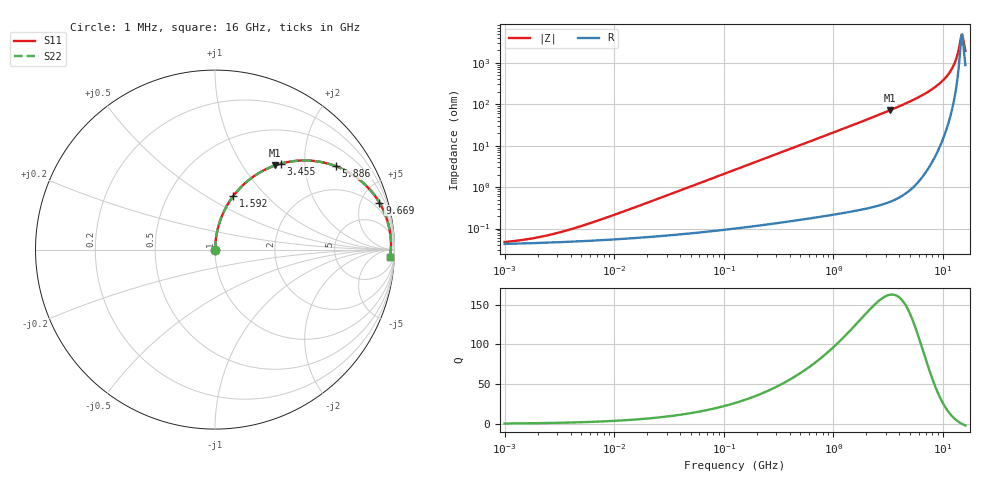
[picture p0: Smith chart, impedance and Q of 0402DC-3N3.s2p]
# MHz  S  MA  R  50
!Freq  MagS11  AngS11  MagS21  AngS21  MagS12  AngS12  MagS22  AngS22
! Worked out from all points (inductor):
!   801 points, 1 MHz to 16 GHz, reference 50 ohm
!   read as one part in series: L = 3.3 nH near 7.644 MHz
!   highest Q = 162 at 3.252 GHz (marker M1), where L = 3.47 nH
!   self-resonance near 14.77 GHz
!   S11 on the Smith chart (normalised r, x): 1 MHz: 1.00, +0.00; 1.592 GHz: 1.01, +0.67; 3.455 GHz: 1.01, +1.51; 5.886 GHz: 1.03, +2.89; 9.669 GHz: 1.23, +6.93; 16 GHz: 19, -35
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1  0.0004736 25.9  0.9996 -0.0  0.9996 -0.0  0.0004736 25.9
2.196615  0.0006421 45.1  0.9995 -0.0  0.9995 -0.0  0.0006421 45.1
5.064525  0.001161 64.7  0.9995 -0.1  0.9995 -0.1  0.001161 64.7
25.34076  0.005291 82.6  0.9993 -0.3  0.9993 -0.3  0.005291 82.6
126.7946  0.02628 86.3  0.9987 -1.5  0.9987 -1.5  0.02628 86.3
642.1543  0.132 81.6  0.9895 -7.6  0.9895 -7.6  0.132 81.6
1592.102  0.316 71.1  0.9462 -18.4  0.9462 -18.4  0.316 71.1
2289.303  0.4361 63.8  0.897 -25.9  0.897 -25.9  0.4361 63.8
3213.071  0.5712 54.8  0.8173 -34.8  0.8173 -34.8  0.5712 54.8
3252.207  0.5763 54.5  0.8137 -35.2  0.8137 -35.2  0.5763 54.5
3455.15  0.6019 52.6  0.7949 -37.0  0.7949 -37.0  0.6019 52.6
4564.521  0.72 43.6  0.6891 -46.1  0.6891 -46.1  0.72 43.6
5885.833  0.8192 34.5  0.5662 -55.0  0.5662 -55.0  0.8192 34.5
7775.642  0.9061 24.1  0.4086 -65.0  0.4086 -65.0  0.9061 24.1
9668.871  0.9523 15.9  0.2747 -72.1  0.2747 -72.1  0.9523 15.9
11180.69  0.9713 10.5  0.1831 -75.7  0.1831 -75.7  0.9713 10.5
12467.76  0.9791 6.5  0.1142 -76.2  0.1142 -76.2  0.9791 6.5
13245.77  0.981 4.3  0.07645 -73.5  0.07645 -73.5  0.981 4.3
14243.73  0.9811 1.6  0.03401 -55.4  0.03401 -55.4  0.9811 1.6
14592.82  0.9806 0.8  0.0234 -33.6  0.0234 -33.6  0.9806 0.8
15132.57  0.9793 -0.6  0.02284 24.7  0.02284 24.7  0.9793 -0.6
16000  0.9761 -2.6  0.05032 60.4  0.05032 60.4  0.9761 -2.6
